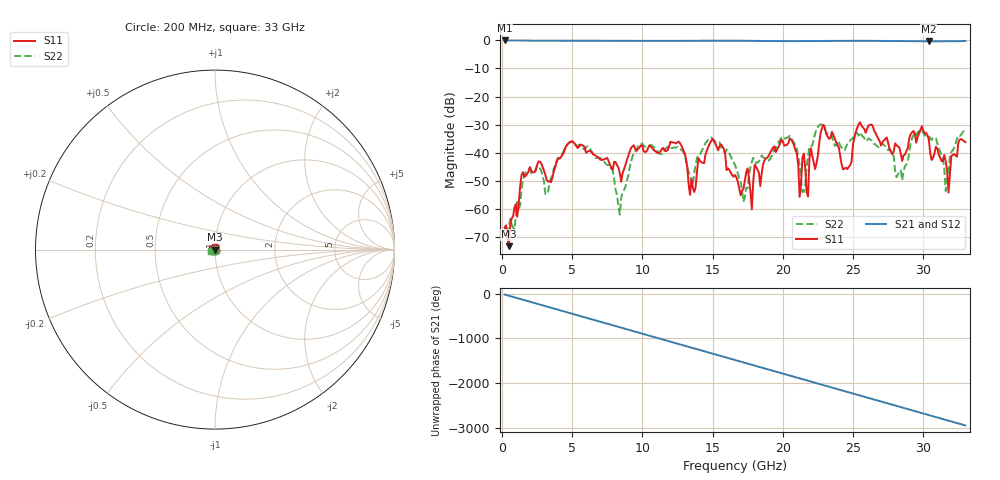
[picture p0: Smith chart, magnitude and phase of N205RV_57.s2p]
# GHZ S RI R 50
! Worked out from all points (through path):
!   329 points, 200 MHz to 33 GHz, reference 50 ohm
!   highest |S21| = -0.02 dB at 200 MHz (marker M1); lowest = -0.4 dB at 30.4 GHz (marker M2)
!   group delay of S21, straight-line fit = 248 ps
!   lowest |S11| = -73.3 dB at 500 MHz (marker M3), VSWR 1.00, Z = 50 - j0.0012 ohm
!   |S11| at or under -10 dB: start of sweep to end of sweep
!   |S22| runs from -68.6 to -29.9 dB; largest |S21 - S12| = 0.0019
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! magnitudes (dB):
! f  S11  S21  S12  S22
! 200 MHz  -66.7  0.0  0.0  -67.8
! 500 MHz  -73.3  0.0  0.0  -66.3
! 1.5 GHz  -47.0  -0.1  -0.1  -49.9
! 5.7 GHz  -37.3  -0.1  -0.1  -38.4
! 8.4 GHz  -47.3  -0.1  -0.1  -62.1
! 9.7 GHz  -38.7  -0.2  -0.2  -37.6
! 11.2 GHz  -40.0  -0.2  -0.2  -40.2
! 16.6 GHz  -47.9  -0.1  -0.1  -44.3
! 17.2 GHz  -53.0  -0.1  -0.1  -57.5
! 17.8 GHz  -60.2  -0.2  -0.2  -43.4
! 18 GHz  -44.3  -0.2  -0.2  -42.4
! 20.5 GHz  -34.9  -0.3  -0.3  -34.0
! 21.2 GHz  -55.7  -0.3  -0.3  -44.5
! 21.5 GHz  -40.3  -0.2  -0.2  -53.9
! 21.8 GHz  -55.6  -0.2  -0.2  -41.2
! 22.1 GHz  -41.2  -0.3  -0.3  -37.5
! 27.6 GHz  -38.6  -0.2  -0.2  -38.6
! 28.5 GHz  -43.0  -0.3  -0.3  -49.8
! 30.4 GHz  -35.3  -0.4  -0.4  -34.0
! 31.6 GHz  -43.2  -0.3  -0.3  -53.7
! 31.8 GHz  -54.2  -0.3  -0.3  -46.8
! 33 GHz  -36.3  -0.2  -0.2  -32.5
